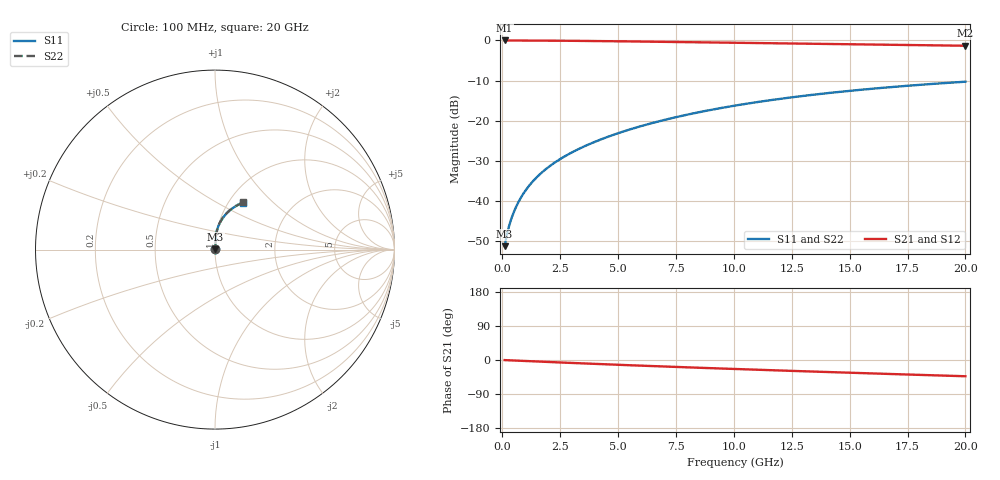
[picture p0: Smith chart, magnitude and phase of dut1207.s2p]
! Touchstone file exported from HFSS 2024.1.0
!  File:  C:/UserFiles/LocalFiles/RDL_TSV_Batchsim/temp_RDL_bottom_1207_1780243544.aedt
!  Generated:  12:07:55 AM Jun  1, 2026
!  Design:  RDL_bottom
!  Project:  temp_RDL_bottom_1207_1780243544
!  Setup:  Setup1
!  Solution:  Sweep
! Variables:
!  dtsv = 10.80580581um
!  hbump = 3um
!  htsv = 83.93um
!  ldown = 676.59um
!  lrdl = 100um
!  p = 40
!  p1 = 44.88um
!  rhole = 1um
!  t = 450um
!  tdown = 4.79um
!  trdl = 3.915915916um
!  wdown = 24.6um
!  wrdl = 20um
# GHz S MA R 50.000000
! Terminal data exported
! Port[1] = RDL1_T1
! Port[2] = RDL1_T2
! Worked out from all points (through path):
!   200 points, 100 MHz to 20 GHz, reference 50 ohm
!   highest |S21| = -0.02 dB at 100 MHz (marker M1); lowest = -1.3 dB at 20 GHz (marker M2)
!   group delay of S21, straight-line fit = 5.88 ps
!   lowest |S11| = -51.3 dB at 100 MHz (marker M3), VSWR 1.01, Z = 50.2 + j0.156 ohm
!   |S11| at or under -10 dB: start of sweep to end of sweep
!   |S22| runs from -51.3 to -10.3 dB; largest |S21 - S12| = 4.2e-15
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0.1  0.002731 34.7  0.9977 -0.3  0.9977 -0.3  0.002731 34.7
! Gamma 0 0 0 0
! Port Impedance 50 0 50 0
0.2  0.003822 50.4  0.9975 -0.5  0.9975 -0.5  0.003822 50.4
0.3  0.004959 58.7  0.9973 -0.8  0.9973 -0.8  0.004958 58.7
0.4  0.00611 64.2  0.9971 -1.1  0.9971 -1.1  0.00611 64.2
0.5  0.007285 68.1  0.997 -1.3  0.997 -1.3  0.007285 68.2
0.6  0.008485 71.1  0.9968 -1.6  0.9968 -1.6  0.008484 71.2
0.8  0.01094 75.3  0.9965 -2.1  0.9965 -2.1  0.01094 75.3
1.1  0.01472 79.1  0.9958 -2.9  0.9958 -2.9  0.01472 79.2
1.3  0.01729 80.8  0.9953 -3.4  0.9953 -3.4  0.01729 80.8
1.6  0.02119 82.5  0.9943 -4.2  0.9943 -4.2  0.02119 82.6
2.1  0.02782 84.3  0.9923 -5.5  0.9923 -5.5  0.02782 84.4
2.7  0.03597 85.6  0.9894 -7.0  0.9894 -7.0  0.03599 85.7
3.5  0.04724 86.5  0.9848 -9.0  0.9848 -9.0  0.04727 86.5
4.2  0.05751 86.7  0.9802 -10.7  0.9802 -10.7  0.05755 86.8
5  0.06971 86.5  0.9744 -12.6  0.9744 -12.6  0.06977 86.6
6.8  0.09875 84.9  0.9604 -16.8  0.9604 -16.8  0.09888 85.0
8.4  0.1258 82.5  0.9474 -20.3  0.9474 -20.3  0.126 82.6
10.1  0.1548 79.3  0.9336 -23.9  0.9336 -23.9  0.1551 79.4
11.7  0.1819 76.1  0.9207 -27.1  0.9207 -27.1  0.1823 76.2
13.4  0.2098 72.5  0.9073 -30.5  0.9073 -30.5  0.2103 72.6
16.7  0.2605 65.6  0.8818 -36.8  0.8818 -36.8  0.2611 65.7
20  0.3057 58.9  0.8573 -42.9  0.8573 -42.9  0.3064 59.0
